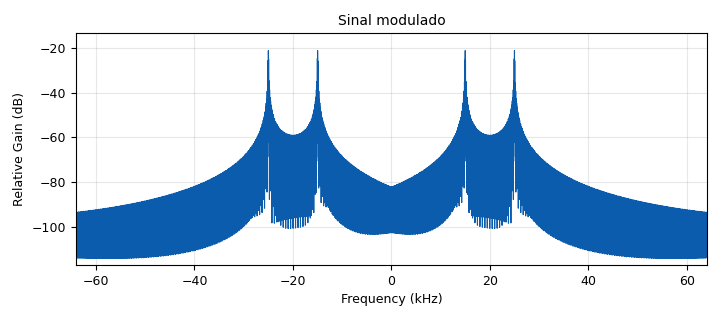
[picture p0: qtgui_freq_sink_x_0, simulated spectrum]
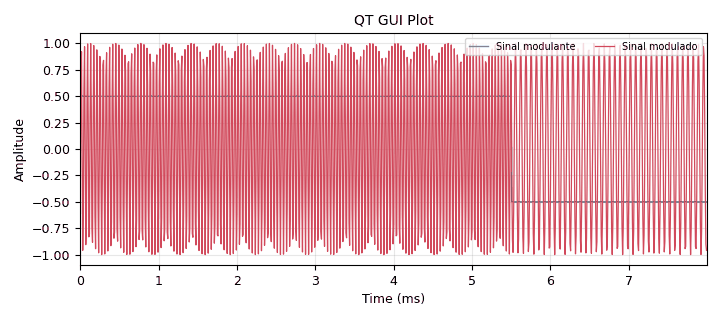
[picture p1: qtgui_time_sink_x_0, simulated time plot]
options:
  parameters:
    category: Custom
    generate_options: qt_gui
    id: Labo4_2
    output_language: python
    title: FM de Faixa Larga
  states: {}

blocks:
- name: A
  id: variable_qtgui_range
  parameters:
    gui_hint: 0,0,1,1
    label: Amplitude do sinal modulante
    orient: Qt.Horizontal
    start: '0'
    step: '0.1'
    stop: '2'
    value: '1'
  states: {}
- name: F
  id: variable_qtgui_range
  parameters:
    gui_hint: 0,1,1,1
    label: Frequencia do sinal modulante
    orient: Qt.Horizontal
    start: '0'
    step: '50'
    stop: '1000'
    value: '50'
  states: {}
- name: Fp
  id: variable_qtgui_range
  parameters:
    gui_hint: 0,2,1,1
    label: Frequencia da portadora
    orient: Qt.Horizontal
    start: '10000'
    step: '500'
    stop: '30000'
    value: '20000'
  states: {}
- name: samp_rate
  id: variable
  parameters:
    value: 4*32000
  states: {}
- name: analog_sig_source_x_0
  id: analog_sig_source_x
  parameters:
    amp: A
    freq: F
    offset: '-0.5'
    phase: '0'
    samp_rate: samp_rate
    type: float
    waveform: analog.GR_SQR_WAVE
  states: {}
- name: blocks_add_const_vxx_0
  id: blocks_add_const_vxx
  parameters:
    const: Fp/10000.0
    type: float
  states: {}
- name: blocks_throttle_0
  id: blocks_throttle
  parameters:
    samples_per_second: samp_rate
    type: float
  states: {}
- name: blocks_vco_f_0
  id: blocks_vco_f
  parameters:
    amplitude: '1'
    samp_rate: samp_rate
    sensitivity: 6.28*10**4
  states: {}
- name: qtgui_freq_sink_x_0
  id: qtgui_freq_sink_x
  parameters:
    autoscale: 'True'
    bw: samp_rate
    fc: '0'
    fftsize: 1024*13
    grid: 'True'
    gui_hint: 2,0,1,3
    name: Sinal modulado
    showports: 'True'
    type: float
    wintype: firdes.WIN_BLACKMAN_hARRIS
  states: {}
- name: qtgui_time_sink_x_0
  id: qtgui_time_sink_x
  parameters:
    autoscale: 'True'
    grid: 'True'
    gui_hint: 1,0,1,3
    label1: Sinal modulante
    label2: Sinal modulado
    name: QT GUI Plot
    nconnections: '2'
    size: '1024'
    srate: samp_rate
    type: float
    yunit: V
  states: {}

connections:
- [analog_sig_source_x_0, '0', blocks_throttle_0, '0']
- [blocks_add_const_vxx_0, '0', blocks_vco_f_0, '0']
- [blocks_throttle_0, '0', blocks_add_const_vxx_0, '0']
- [blocks_throttle_0, '0', qtgui_time_sink_x_0, '0']
- [blocks_vco_f_0, '0', qtgui_freq_sink_x_0, '0']
- [blocks_vco_f_0, '0', qtgui_time_sink_x_0, '1']

metadata:
  file_format: 1
